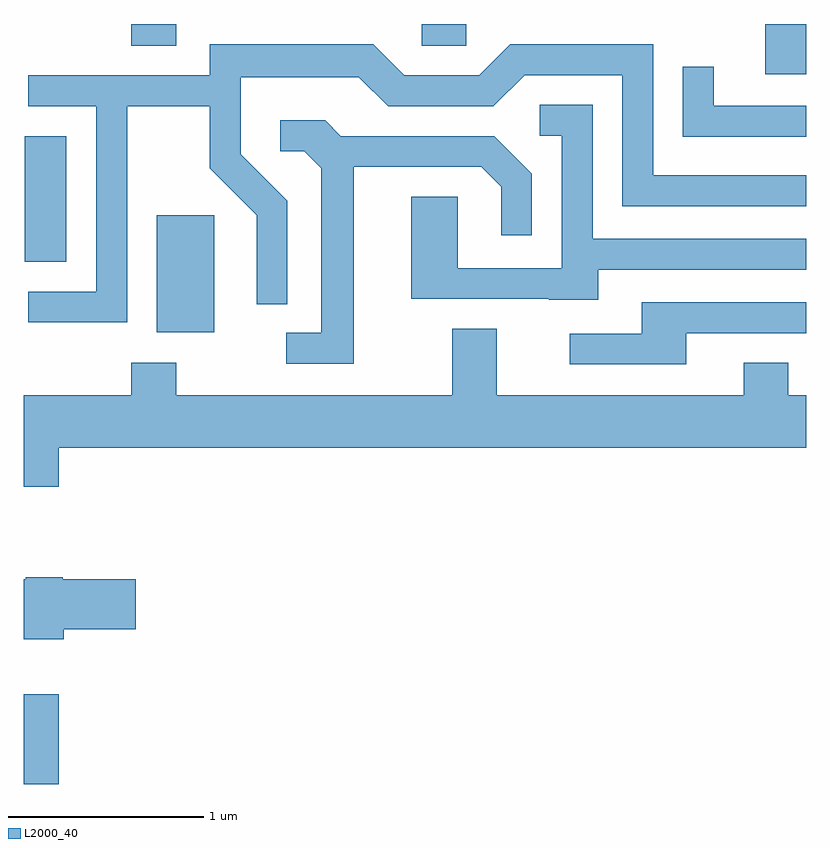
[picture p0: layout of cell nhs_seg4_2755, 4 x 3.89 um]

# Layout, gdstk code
import gdstk
lib = gdstk.Library(unit=1e-6, precision=1e-09)
def R(c, l, rs):  # rectangles x0, y0, x1, y1
    for r in rs: c.add(gdstk.rectangle(r[:2], r[2:], *l))
def P(c, l, *ps):  # polygons
    for p in ps: c.add(gdstk.Polygon(p, *l))
L2000_40 = (2000, 40)

nhs_seg4_2755 = lib.new_cell('nhs_seg4_2755')
R(nhs_seg4_2755, L2000_40, [(265.611,1324.096,265.789,1324.554), (266.291,1326.406,266.584,1327.004), (265.616,1326.766,265.829,1327.409), (269.401,1327.726,269.611,1327.982), (266.161,1327.871,266.389,1327.982), (267.646,1327.871,267.874,1327.982)])
P(nhs_seg4_2755, L2000_40, [(266.139,1327.561),(266.561,1327.561),(266.561,1327.244),(266.801,1327.004),(266.801,1326.548),(266.959,1326.548),(266.959,1327.077),(266.719,1327.317),(266.719,1327.711),(267.324,1327.711),(267.474,1327.561),(268.012,1327.561),(268.172,1327.721),(268.671,1327.721),(268.671,1327.051),(269.611,1327.051),(269.611,1327.209),(268.829,1327.209),(268.829,1327.879),(268.099,1327.879),(267.939,1327.719),(267.557,1327.719),(267.397,1327.879),(266.561,1327.879),(266.561,1327.719),(265.633,1327.719),(265.633,1327.561),(265.981,1327.561),(265.981,1326.614),(265.633,1326.614),(265.633,1326.456),(266.139,1326.456)],
  [(269.611,1327.564),(269.139,1327.564),(269.139,1327.763),(268.981,1327.763),(268.981,1327.406),(269.611,1327.406)],
  [(268.549,1326.726),(269.611,1326.726),(269.611,1326.884),(268.519,1326.884),(268.519,1327.569),(268.248,1327.569),(268.248,1327.411),(268.361,1327.411),(268.361,1326.734),(267.829,1326.734),(267.829,1327.099),(267.591,1327.099),(267.591,1326.576),(268.295,1326.576),(268.295,1326.571),(268.549,1326.571)],
  [(267.299,1327.251),(267.949,1327.251),(268.051,1327.149),(268.051,1326.903),(268.209,1326.903),(268.209,1327.217),(268.017,1327.409),(267.232,1327.409),(267.152,1327.489),(266.923,1327.489),(266.923,1327.331),(267.044,1327.331),(267.131,1327.244),(267.131,1326.404),(266.953,1326.404),(266.953,1326.246),(267.299,1326.246)],
  [(268.999,1326.401),(269.611,1326.401),(269.611,1326.559),(268.771,1326.559),(268.771,1326.399),(268.403,1326.399),(268.403,1326.241),(268.999,1326.241)],
  [(265.789,1325.816),(269.611,1325.816),(269.611,1326.084),(269.519,1326.084),(269.519,1326.249),(269.291,1326.249),(269.291,1326.084),(268.029,1326.084),(268.029,1326.424),(267.801,1326.424),(267.801,1326.084),(266.389,1326.084),(266.389,1326.249),(266.161,1326.249),(266.161,1326.084),(265.611,1326.084),(265.611,1325.616),(265.789,1325.616)],
  [(265.814,1324.886),(266.184,1324.886),(266.184,1325.144),(265.81,1325.144),(265.81,1325.154),(265.62,1325.154),(265.62,1325.144),(265.611,1325.144),(265.611,1324.836),(265.814,1324.836)])

lib.write_gds('nhs_seg4_2755.gds')
